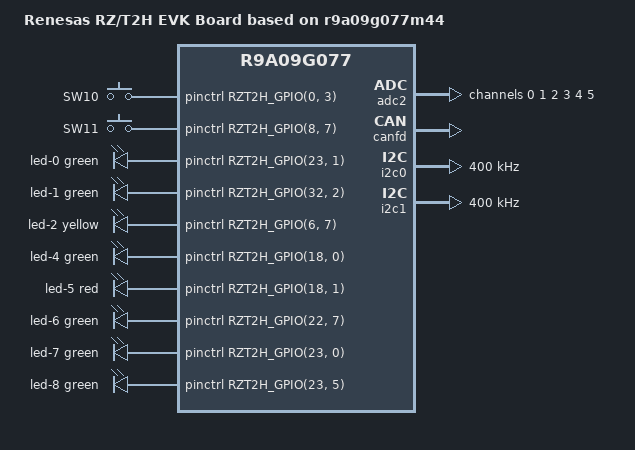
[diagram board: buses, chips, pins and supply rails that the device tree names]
// SPDX-License-Identifier: (GPL-2.0-only OR BSD-2-Clause)
/*
 * Device Tree Source for the RZ/T2H EVK board
 *
 * Copyright (C) 2025 Renesas Electronics Corp.
 */

/dts-v1/;

#include <dt-bindings/input/input.h>

#include "r9a09g077m44.dtsi"

/*
 * SD0 can be connected to either eMMC (IC49) or SD card slot CN31
 * Lets by default enable the eMMC, note we need the below SW settings
 * for eMMC.
 * SW2[1] = ON; SW2[2] = ON
 *
 * To enable SD card and disable eMMC on SDHI0 disable the below macro
 * and set the below switch setting:
 * SW2[1] = OFF; SW2[2] = ON
 */
#define SD0_EMMC	1
#define SD0_SD		(!SD0_EMMC)

/*
 * P17_4 = SD1_CD; SW2[3] = ON
 * P08_5 = SD1_PWEN; SW2[3] = ON
 * P08_6 = SD1_IOVS; SW2[3] = ON; SW5[3] = OFF; SW5[4] = ON
 * To enable proper operation in 1.8V modes, CN77 must have pins 2 and 3
 * connected by the jumper. This connects SD1 power-supply control IC output
 * back to VCC1833_7.
 */
#define SD1_MICRO_SD	1

/*
 * USB Pin Configuration:
 *
 * This board is equipped with three USB connectors: Type-A (CN80), Mini-B
 * (CN79), and Micro-AB (CN33). The RZ/T2H SoC has a single USB channel, so
 * either the USB host interface or the USB function interface can be used,
 * but not both simultaneously when using the CN79 and CN80 connectors.
 *
 * By default, the Type-A (CN80) and Mini-B (CN79) connectors are enabled.
 * Configure the switches as follows:
 *   - P00_0 - P00_2 (control signals for USB power supply): SW1[5] = ON
 *   - USB_VBUSIN (used for USB function): SW7[7] = OFF; SW7[8] = ON
 *   - USB_VBUSEN (used for USB_HF_VBUSEN): SW7[9] = OFF; SW7[10] = ON
 *
 * To enable the Micro-AB (CN33) USB OTG connector, set the following macro
 * to 1 and configure the switches as follows:
 *   - P00_0 - P00_2 (control signals for USB power supply): SW1[5] = ON
 *   - USB_VBUSIN (used for USB OTG): SW7[7] = ON; SW7[8] = OFF
 *   - USB_VBUSEN (used for USB_OTG_VBUSEN): SW7[9] = ON; SW7[10] = OFF
 */
#define USB_OTG		0

#include "rzt2h-n2h-evk-common.dtsi"

/ {
	model = "Renesas RZ/T2H EVK Board based on r9a09g077m44";
	compatible = "renesas,rzt2h-evk", "renesas,r9a09g077m44", "renesas,r9a09g077";

	keys {
		compatible = "gpio-keys";

#if (!SD1_MICRO_SD)
		/* SW2-3: OFF */
		key-1 {
			interrupts-extended = <&pinctrl RZT2H_GPIO(8, 6) IRQ_TYPE_EDGE_FALLING>;
			linux,code = <KEY_1>;
			label = "SW9";
			wakeup-source;
			debounce-interval = <20>;
		};
#endif

		key-2 {
			interrupts-extended = <&pinctrl RZT2H_GPIO(0, 3) IRQ_TYPE_EDGE_FALLING>;
			linux,code = <KEY_2>;
			label = "SW10";
			wakeup-source;
			debounce-interval = <20>;
		};

		key-3 {
			interrupts-extended = <&pinctrl RZT2H_GPIO(8, 7) IRQ_TYPE_EDGE_FALLING>;
			linux,code = <KEY_3>;
			label = "SW11";
			wakeup-source;
			debounce-interval = <20>;
		};
	};

	leds {
		compatible = "gpio-leds";

		led-0 {
			/* SW8-9: ON, SW8-10: OFF */
			gpios = <&pinctrl RZT2H_GPIO(23, 1) GPIO_ACTIVE_HIGH>;
			color = <LED_COLOR_ID_GREEN>;
			function = LED_FUNCTION_DEBUG;
			function-enumerator = <0>;
		};

		led-1 {
			/* SW5-1: OFF, SW5-2: ON */
			gpios = <&pinctrl RZT2H_GPIO(32, 2) GPIO_ACTIVE_HIGH>;
			color = <LED_COLOR_ID_GREEN>;
			function = LED_FUNCTION_DEBUG;
			function-enumerator = <1>;
		};

		led-2 {
			gpios = <&pinctrl RZT2H_GPIO(6, 7) GPIO_ACTIVE_HIGH>;
			color = <LED_COLOR_ID_YELLOW>;
			function = LED_FUNCTION_DEBUG;
			function-enumerator = <2>;
		};

#if (!SD1_MICRO_SD)
		led-3 {
			/* SW2-3: OFF */
			gpios = <&pinctrl RZT2H_GPIO(8, 5) GPIO_ACTIVE_HIGH>;
			color = <LED_COLOR_ID_RED>;
			function = LED_FUNCTION_DEBUG;
			function-enumerator = <3>;
		};
#endif

		led-4 {
			/* SW8-3: ON, SW8-4: OFF */
			gpios = <&pinctrl RZT2H_GPIO(18, 0) GPIO_ACTIVE_HIGH>;
			color = <LED_COLOR_ID_GREEN>;
			function = LED_FUNCTION_DEBUG;
			function-enumerator = <4>;
		};

		led-5 {
			/* SW8-1: ON, SW8-2: OFF */
			gpios = <&pinctrl RZT2H_GPIO(18, 1) GPIO_ACTIVE_HIGH>;
			color = <LED_COLOR_ID_RED>;
			function = LED_FUNCTION_DEBUG;
			function-enumerator = <5>;
		};

		led-6 {
			/* SW5-9: OFF, SW5-10: ON */
			gpios = <&pinctrl RZT2H_GPIO(22, 7) GPIO_ACTIVE_HIGH>;
			color = <LED_COLOR_ID_GREEN>;
			function = LED_FUNCTION_DEBUG;
			function-enumerator = <6>;
		};

		led-7 {
			/* SW5-7: OFF, SW5-8: ON */
			gpios = <&pinctrl RZT2H_GPIO(23, 0) GPIO_ACTIVE_HIGH>;
			color = <LED_COLOR_ID_GREEN>;
			function = LED_FUNCTION_DEBUG;
			function-enumerator = <7>;
		};

		led-8 {
			/* SW7-5: OFF, SW7-6: ON */
			gpios = <&pinctrl RZT2H_GPIO(23, 5) GPIO_ACTIVE_HIGH>;
			color = <LED_COLOR_ID_GREEN>;
			function = LED_FUNCTION_DEBUG;
			function-enumerator = <8>;
		};
	};
};

&adc2 {
	status = "okay";

	channel@0 {
		reg = <0x0>;
	};

	channel@1 {
		reg = <0x1>;
	};

	channel@2 {
		reg = <0x2>;
	};

	channel@3 {
		reg = <0x3>;
	};

	channel@4 {
		reg = <0x4>;
	};

	channel@5 {
		reg = <0x5>;
	};
};

&canfd {
	pinctrl-0 = <&can0_pins>;
	pinctrl-names = "default";
	status = "okay";

	channel0 {
		status = "okay";
	};
};

&i2c0 {
	pinctrl-0 = <&i2c0_pins>;
	pinctrl-names = "default";
	clock-frequency = <400000>;
	status = "okay";
};

&i2c1 {
	pinctrl-0 = <&i2c1_pins>;
	pinctrl-names = "default";
	clock-frequency = <400000>;
	status = "okay";
};

&mdio1_phy {
	reset-gpios = <&pinctrl RZT2H_GPIO(32, 3) GPIO_ACTIVE_LOW>;
};

&mdio2_phy {
	/*
	 * PHY2 Reset Configuration:
	 *
	 * SW6[1] OFF; SW6[2] ON; SW6[3] OFF - use pin P17_5 for GMAC_RESETOUT2#
	 */
	reset-gpios = <&pinctrl RZT2H_GPIO(17, 5) GPIO_ACTIVE_LOW>;
};

&pinctrl {
	/*
	 * CAN0 Pin Configuration:
	 *
	 * SW7[1] OFF; SW7[2] ON - Use P24_4 as CANTX0.
	 * SW7[3] OFF; SW7[4] ON - Use P24_3 as CANRX0.
	 */
	can0_pins: can0-pins {
		pinmux = <RZT2H_PORT_PINMUX(24, 3, 0x19)>, /* CANRX0 */
			 <RZT2H_PORT_PINMUX(24, 4, 0x19)>; /* CANTX0 */
	};

	/*
	 * GMAC2 Pin Configuration:
	 *
	 * SW2[6] OFF - connect MDC/MDIO of Ethernet port 2 to GMAC2
	 * SW2[7] ON - use pins P29_1-P29_7, P30_0-P30_4, and P31_2-P31_5
	 * for Ethernet port 2
	 */
	gmac2_pins: gmac2-pins {
		pinmux = <RZT2H_PORT_PINMUX(29, 1, 0xf)>, /* ETH2_TXCLK */
			 <RZT2H_PORT_PINMUX(29, 2, 0xf)>, /* ETH2_TXD0 */
			 <RZT2H_PORT_PINMUX(29, 3, 0xf)>, /* ETH2_TXD1 */
			 <RZT2H_PORT_PINMUX(29, 4, 0xf)>, /* ETH2_TXD2 */
			 <RZT2H_PORT_PINMUX(29, 5, 0xf)>, /* ETH2_TXD3 */
			 <RZT2H_PORT_PINMUX(29, 6, 0xf)>, /* ETH2_TXEN */
			 <RZT2H_PORT_PINMUX(29, 7, 0xf)>, /* ETH2_RXCLK */
			 <RZT2H_PORT_PINMUX(30, 0, 0xf)>, /* ETH2_RXD0 */
			 <RZT2H_PORT_PINMUX(30, 1, 0xf)>, /* ETH2_RXD1 */
			 <RZT2H_PORT_PINMUX(30, 2, 0xf)>, /* ETH2_RXD2 */
			 <RZT2H_PORT_PINMUX(30, 3, 0xf)>, /* ETH2_RXD3 */
			 <RZT2H_PORT_PINMUX(30, 4, 0xf)>, /* ETH2_RXDV */
			 <RZT2H_PORT_PINMUX(31, 2, 0xf)>, /* ETH2_TXER */
			 <RZT2H_PORT_PINMUX(31, 3, 0xf)>, /* ETH2_RXER */
			 <RZT2H_PORT_PINMUX(31, 4, 0xf)>, /* ETH2_CRS */
			 <RZT2H_PORT_PINMUX(31, 5, 0xf)>, /* ETH2_COL */
			 <RZT2H_PORT_PINMUX(30, 5, 0x10)>, /* GMAC2_MDC */
			 <RZT2H_PORT_PINMUX(30, 6, 0x10)>, /* GMAC2_MDIO */
			 <RZT2H_PORT_PINMUX(31, 0, 0x2)>; /* ETH2_REFCLK */
	};

	/*
	 * GMAC1 Pin Configuration:
	 *
	 * SW2[8] ON - use pins P33_2-P33_7, P34_0-P34_5, P34_7 and
	 * P35_0-P35_2 for Ethernet port 3
	 */
	gmac1_pins: gmac1-pins {
		pinmux = <RZT2H_PORT_PINMUX(33, 2, 0xf)>, /* ETH3_TXCLK */
			 <RZT2H_PORT_PINMUX(33, 3, 0xf)>, /* ETH3_TXD0 */
			 <RZT2H_PORT_PINMUX(33, 4, 0xf)>, /* ETH3_TXD1 */
			 <RZT2H_PORT_PINMUX(33, 5, 0xf)>, /* ETH3_TXD2 */
			 <RZT2H_PORT_PINMUX(33, 6, 0xf)>, /* ETH3_TXD3 */
			 <RZT2H_PORT_PINMUX(33, 7, 0xf)>, /* ETH3_TXEN */
			 <RZT2H_PORT_PINMUX(34, 0, 0xf)>, /* ETH3_RXCLK */
			 <RZT2H_PORT_PINMUX(34, 1, 0xf)>, /* ETH3_RXD0 */
			 <RZT2H_PORT_PINMUX(34, 2, 0xf)>, /* ETH3_RXD1 */
			 <RZT2H_PORT_PINMUX(34, 3, 0xf)>, /* ETH3_RXD2 */
			 <RZT2H_PORT_PINMUX(34, 4, 0xf)>, /* ETH3_RXD3 */
			 <RZT2H_PORT_PINMUX(34, 5, 0xf)>, /* ETH3_RXDV */
			 <RZT2H_PORT_PINMUX(34, 7, 0xf)>, /* ETH3_TXER */
			 <RZT2H_PORT_PINMUX(35, 0, 0xf)>, /* ETH3_RXER */
			 <RZT2H_PORT_PINMUX(35, 1, 0xf)>, /* ETH3_CRS */
			 <RZT2H_PORT_PINMUX(35, 2, 0xf)>, /* ETH3_COL */
			 <RZT2H_PORT_PINMUX(26, 1, 0x10)>, /* GMAC1_MDC */
			 <RZT2H_PORT_PINMUX(26, 2, 0x10)>, /* GMAC1_MDIO */
			 <RZT2H_PORT_PINMUX(34, 6, 0x2)>; /* ETH3_REFCLK */
	};

	/*
	 * I2C0 Pin Configuration:
	 * ------------------------
	 * Signal | Pin     | SW6
	 * -------|---------|--------------
	 * SCL    | P23_3   | 7: ON, 8: OFF
	 * SDA    | P23_4   | 9: ON, 10: OFF
	 */
	i2c0_pins: i2c0-pins {
		pinmux = <RZT2H_PORT_PINMUX(23, 3, 0x17)>,
			 <RZT2H_PORT_PINMUX(23, 4, 0x17)>;
	};

	i2c1_pins: i2c1-pins {
		pinmux = <RZT2H_PORT_PINMUX(5, 0, 0x17)>, /* SDA */
			 <RZT2H_PORT_PINMUX(4, 7, 0x17)>; /* SCL */
	};

#if USB_OTG
	usb-exicen-hog {
		gpio-hog;
		gpios = <RZT2H_GPIO(0, 2) GPIO_ACTIVE_HIGH>;
		output-high;
		line-name = "usb_exicen_a";
	};
#endif

	usb_pins: usb-pins {
		pinmux = <RZT2H_PORT_PINMUX(0, 0, 0x13)>, /* VBUSEN */
			 <RZT2H_PORT_PINMUX(0, 1, 0x13)>; /* OVRCUR */
	};
};

